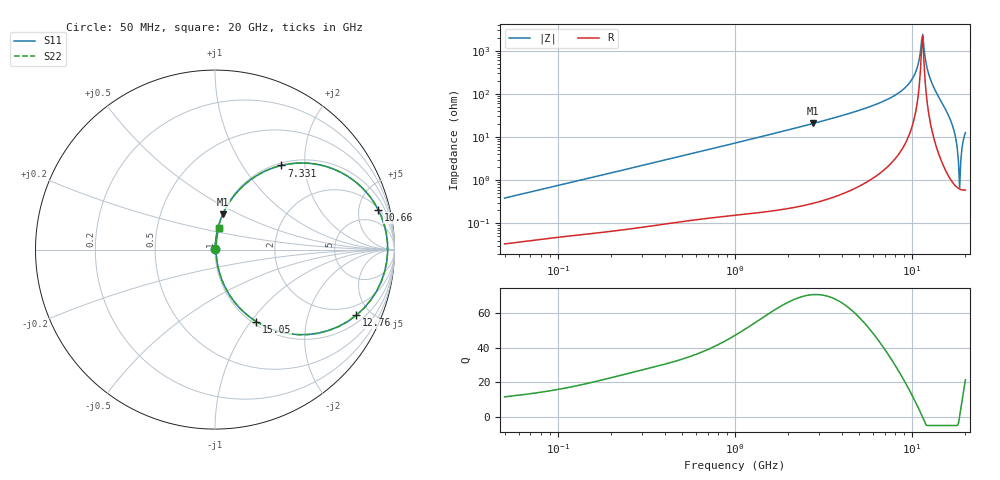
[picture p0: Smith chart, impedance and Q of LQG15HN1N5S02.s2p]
!Murata Part Number: LQG15HN1N5S02
!These Parameters are Measured in Series Mode Connection
!  o--[Z]--o
!Port1  Port2
!  o-------o
!Freq. Start=50[MHz] Stop=20[GHz], 401[Steps]
# Hz S RI R 50
!Freq.(Hz) S11(Real) S11(Imag) S21(Real) S21(Imag) S12(Real) S12(Imag) S22(Real) S22(Imag)
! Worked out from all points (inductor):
!   401 points, 50 MHz to 20 GHz, reference 50 ohm
!   read as one part in series: L = 1.21 nH near 51.52 MHz
!   highest Q = 70.6 at 2.769 GHz (marker M1), where L = 1.19 nH
!   self-resonance near 11.32 GHz
!   S11 on the Smith chart (normalised r, x): 50 MHz: 1.00, +0.01; 7.331 GHz: 1.04, +1.52; 10.66 GHz: 2.16, +7.75; 12.76 GHz: 1.37, -4.08; 15.05 GHz: 1.04, -1.06; 20 GHz: 1.01, +0.25
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5e7  0.000349 0.00384  0.9997 -0.00384  0.9997 -0.00384  0.000349 0.00384
1.364002e8  0.00065 0.0101  0.9993 -0.0101  0.9993 -0.0101  0.00065 0.0101
3.721004e8  0.00166 0.0271  0.9983 -0.0271  0.9983 -0.0271  0.00166 0.0271
1e9  0.00672 0.0718  0.9933 -0.0718  0.9933 -0.0718  0.00672 0.0718
2.728004e9  0.0421 0.1939  0.9579 -0.1939  0.9579 -0.1939  0.0421 0.1939
2.769174e9  0.0434 0.1968  0.9566 -0.1968  0.9566 -0.1968  0.0434 0.1968
5.041459e9  0.1525 0.3508  0.8475 -0.3508  0.8475 -0.3508  0.1525 0.3508
7.331367e9  0.3695 0.469  0.6305 -0.469  0.6305 -0.469  0.3695 0.469
7.442007e9  0.3838 0.4722  0.6162 -0.4722  0.6162 -0.4722  0.3838 0.4722
9.457416e9  0.7104 0.4253  0.2896 -0.4253  0.2896 -0.4253  0.7104 0.4253
1.066139e10  0.9099 0.2213  0.0901 -0.2213  0.0901 -0.2213  0.9099 0.2213
1.115139e10  0.9546 0.089  0.0454 -0.089  0.0454 -0.089  0.9546 0.089
1.149051e10  0.9619 -0.0138  0.0381 0.0138  0.0381 0.0138  0.9619 -0.0138
1.276073e10  0.7869 -0.3663  0.2131 0.3663  0.2131 0.3663  0.7869 -0.3663
1.504638e10  0.23 -0.4013  0.77 0.4013  0.77 0.4013  0.23 -0.4013
1.696185e10  0.0383 -0.1687  0.9617 0.1687  0.9617 0.1687  0.0383 -0.1687
1.747767e10  0.0197 -0.1092  0.9803 0.1092  0.9803 0.1092  0.0197 -0.1092
1.800918e10  0.00944 -0.0521  0.9906 0.0521  0.9906 0.0521  0.00944 -0.0521
1.855685e10  0.0062 0.00202  0.9938 -0.00202  0.9938 -0.00202  0.0062 0.00202
1.912117e10  0.00875 0.0529  0.9913 -0.0529  0.9913 -0.0529  0.00875 0.0529
1.940974e10  0.0119 0.0771  0.9881 -0.0771  0.9881 -0.0771  0.0119 0.0771
2e10  0.0213 0.123  0.9787 -0.123  0.9787 -0.123  0.0213 0.123
